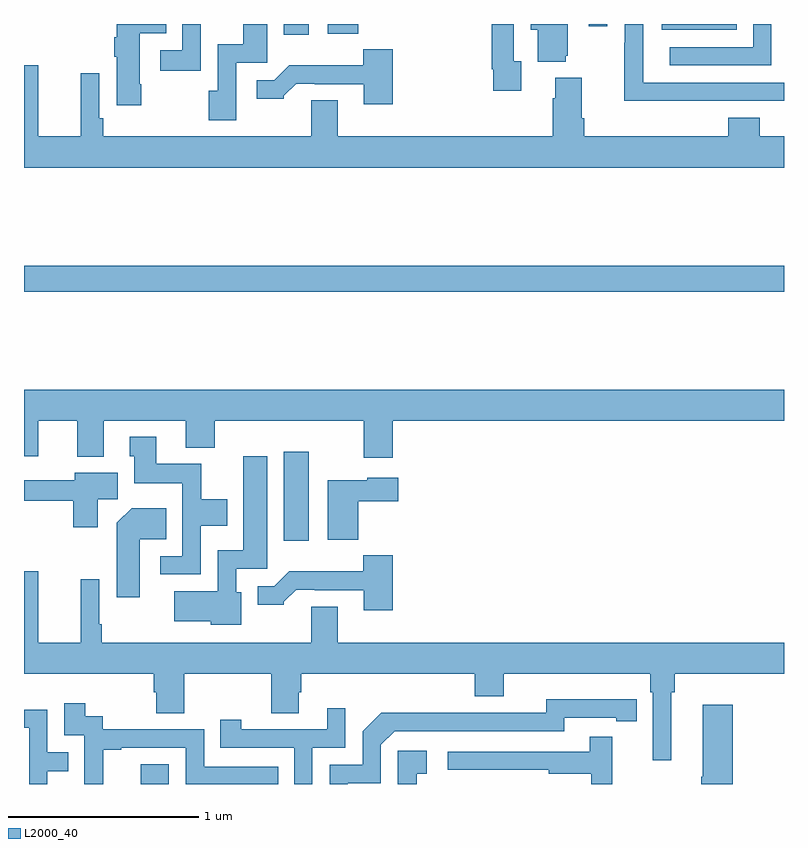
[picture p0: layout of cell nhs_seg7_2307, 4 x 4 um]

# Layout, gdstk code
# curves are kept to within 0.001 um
import gdstk
lib = gdstk.Library(unit=1e-6, precision=1e-09)
def R(c, l, rs):  # rectangles x0, y0, x1, y1
    for r in rs: c.add(gdstk.rectangle(r[:2], r[2:], *l))
def P(c, l, *ps):  # polygons
    for p in ps: c.add(gdstk.Polygon(p, *l))
L2000_40 = (2000, 40)

nhs_seg7_2307 = lib.new_cell('nhs_seg7_2307')
R(nhs_seg7_2307, L2000_40, [(261.615,1036,261.762,1036.105), (262.367,1037.28,262.498,1037.749), (261,1038.592,265,1038.728), (262.367,1039.944,262.498,1040), (262.598,1039.949,262.76,1040), (264.356,1039.97,264.752,1040), (263.973,1039.989,264.069,1040)])
P(nhs_seg7_2307, L2000_40, [(263.852,1039.833),(263.863,1039.833),(263.863,1040),(263.666,1040),(263.666,1039.97),(263.705,1039.97),(263.705,1039.802),(263.852,1039.802)],
  [(264.933,1040),(264.837,1040),(264.837,1039.878),(264.399,1039.878),(264.399,1039.782),(264.933,1039.782)],
  [(261.93,1040),(261.834,1040),(261.834,1039.863),(261.717,1039.863),(261.717,1039.755),(261.93,1039.755)],
  [(264.623,1039.596),(265,1039.596),(265,1039.692),(264.259,1039.692),(264.259,1039.919),(264.258,1039.919),(264.258,1040),(264.162,1040),(264.162,1039.901),(264.16,1039.901),(264.16,1039.595),(264.623,1039.595)],
  [(262.116,1039.797),(262.279,1039.797),(262.279,1040),(262.154,1040),(262.154,1039.894),(262.02,1039.894),(262.02,1039.65),(261.973,1039.65),(261.973,1039.494),(262.116,1039.494)],
  [(263.617,1039.805),(263.577,1039.805),(263.577,1040),(263.461,1040),(263.461,1039.762),(263.469,1039.762),(263.469,1039.65),(263.617,1039.65)],
  [(261.618,1039.684),(261.61,1039.684),(261.61,1039.952),(261.749,1039.952),(261.749,1040),(261.488,1040),(261.488,1039.931),(261.476,1039.931),(261.476,1039.828),(261.488,1039.828),(261.488,1039.572),(261.618,1039.572)],
  [(262.94,1039.867),(262.785,1039.867),(262.785,1039.783),(262.396,1039.783),(262.317,1039.704),(262.224,1039.704),(262.224,1039.607),(262.368,1039.607),(262.368,1039.622),(262.432,1039.686),(262.531,1039.686),(262.531,1039.683),(262.787,1039.683),(262.787,1039.578),(262.94,1039.578)],
  [(265,1039.408),(264.872,1039.408),(264.872,1039.507),(264.707,1039.507),(264.707,1039.408),(263.948,1039.408),(263.948,1039.504),(263.935,1039.504),(263.935,1039.717),(263.795,1039.717),(263.795,1039.61),(263.783,1039.61),(263.783,1039.408),(262.651,1039.408),(262.651,1039.598),(262.511,1039.598),(262.511,1039.408),(261.416,1039.408),(261.416,1039.504),(261.396,1039.504),(261.396,1039.741),(261.298,1039.741),(261.298,1039.408),(261.076,1039.408),(261.076,1039.783),(261,1039.783),(261,1039.244),(265,1039.244)],
  [(262.94,1037.912),(265,1037.912),(265,1038.076),(261,1038.076),(261,1037.724),(261.076,1037.724),(261.076,1037.912),(261.281,1037.912),(261.281,1037.723),(261.421,1037.723),(261.421,1037.912),(261.851,1037.912),(261.851,1037.771),(262.004,1037.771),(262.004,1037.912),(262.787,1037.912),(262.787,1037.718),(262.94,1037.718)],
  [(261.93,1037.36),(262.069,1037.36),(262.069,1037.5),(261.933,1037.5),(261.933,1037.686),(261.697,1037.686),(261.697,1037.827),(261.557,1037.827),(261.557,1037.724),(261.581,1037.724),(261.581,1037.582),(261.834,1037.582),(261.834,1037.199),(261.717,1037.199),(261.717,1037.103),(261.93,1037.103)],
  [(262.144,1037.01),(262.116,1037.01),(262.116,1037.133),(262.279,1037.133),(262.279,1037.725),(262.154,1037.725),(262.154,1037.23),(262.02,1037.23),(262.02,1037.014),(261.791,1037.014),(261.791,1036.856),(261.984,1036.856),(261.984,1036.838),(262.144,1036.838)],
  [(261.388,1037.5),(261.493,1037.5),(261.493,1037.638),(261.266,1037.638),(261.266,1037.598),(261,1037.598),(261,1037.49),(261.259,1037.49),(261.259,1037.352),(261.388,1037.352)],
  [(262.76,1037.489),(262.969,1037.489),(262.969,1037.611),(262.806,1037.611),(262.806,1037.599),(262.598,1037.599),(262.598,1037.285),(262.76,1037.285)],
  [(261.61,1037.288),(261.749,1037.288),(261.749,1037.452),(261.566,1037.452),(261.488,1037.374),(261.488,1036.983),(261.61,1036.983)],
  [(262.94,1037.203),(262.785,1037.203),(262.785,1037.119),(262.396,1037.119),(262.317,1037.04),(262.229,1037.04),(262.229,1036.943),(262.368,1036.943),(262.368,1036.958),(262.432,1037.022),(262.531,1037.022),(262.531,1037.019),(262.787,1037.019),(262.787,1036.914),(262.94,1036.914)],
  [(264.406,1036.484),(264.425,1036.484),(264.425,1036.58),(265,1036.58),(265,1036.744),(262.651,1036.744),(262.651,1036.934),(262.511,1036.934),(262.511,1036.744),(261.409,1036.744),(261.409,1036.84),(261.396,1036.84),(261.396,1037.077),(261.298,1037.077),(261.298,1036.744),(261.076,1036.744),(261.076,1037.119),(261,1037.119),(261,1036.58),(261.683,1036.58),(261.683,1036.482),(261.695,1036.482),(261.695,1036.372),(261.843,1036.372),(261.843,1036.58),(262.3,1036.58),(262.3,1036.372),(262.447,1036.372),(262.447,1036.482),(262.46,1036.482),(262.46,1036.58),(263.372,1036.58),(263.372,1036.463),(263.524,1036.463),(263.524,1036.58),(264.296,1036.58),(264.296,1036.484),(264.309,1036.484),(264.309,1036.125),(264.406,1036.125)],
  [(262.705,1036.005),(262.878,1036.005),(262.878,1036.206),(262.95,1036.278),(263.844,1036.278),(263.844,1036.35),(264.116,1036.35),(264.116,1036.33),(264.224,1036.33),(264.224,1036.446),(263.748,1036.447),(263.748,1036.374),(263.288,1036.374),(263.288,1036.376),(262.88,1036.376),(262.782,1036.278),(262.782,1036.101),(262.608,1036.101),(262.608,1036),(262.705,1036)],
  [(261.416,1036.179),(261.511,1036.179),(261.511,1036.191),(261.852,1036.191),(261.852,1036),(262.337,1036),(262.337,1036.092),(261.948,1036.092),(261.948,1036.287),(261.414,1036.287),(261.414,1036.356),(261.322,1036.356),(261.322,1036.426),(261.213,1036.426),(261.213,1036.257),(261.318,1036.257),(261.318,1036.028),(261.317,1036.028),(261.317,1036),(261.416,1036)],
  [(264.731,1036.417),(264.572,1036.417),(264.572,1036.037),(264.565,1036.037),(264.565,1036),(264.731,1036)],
  [(262.518,1036.191),(262.692,1036.191),(262.692,1036.399),(262.595,1036.399),(262.595,1036.287),(262.144,1036.287),(262.144,1036.339),(262.033,1036.339),(262.033,1036.191),(262.422,1036.191),(262.422,1036),(262.518,1036)],
  [(261.123,1036.066),(261.233,1036.066),(261.233,1036.167),(261.123,1036.167),(261.123,1036.392),(261,1036.392),(261,1036.296),(261.027,1036.296),(261.027,1036),(261.123,1036)],
  [(264.095,1036.249),(263.977,1036.249),(263.977,1036.17),(263.229,1036.17),(263.229,1036.074),(263.761,1036.074),(263.761,1036.054),(263.985,1036.054),(263.985,1036),(264.095,1036)],
  [(263.066,1036.053),(263.119,1036.053),(263.119,1036.174),(262.968,1036.174),(262.968,1036),(263.066,1036)])

lib.write_gds('nhs_seg7_2307.gds')
